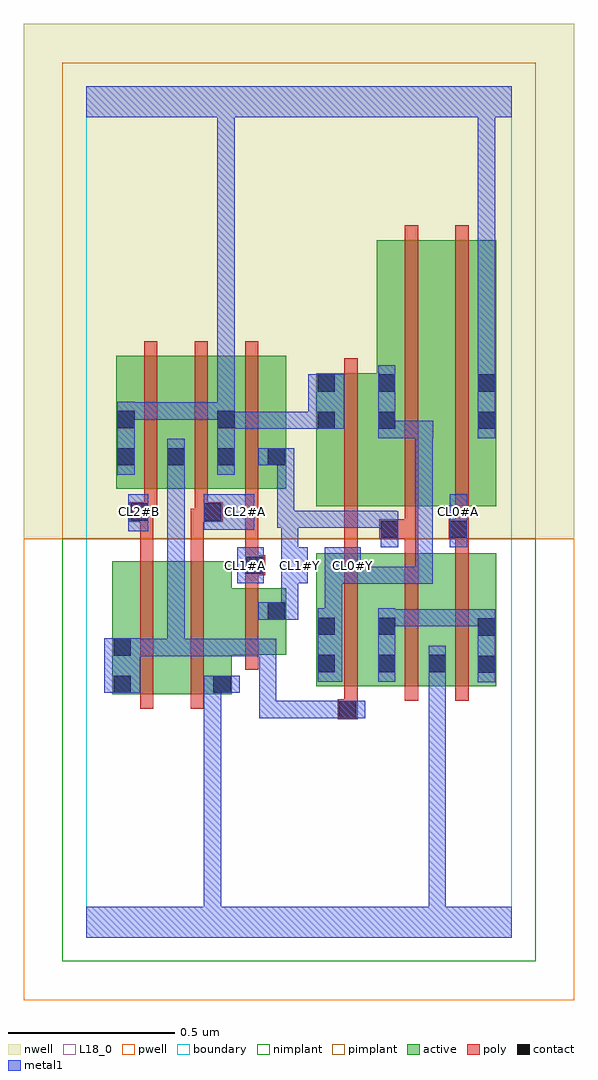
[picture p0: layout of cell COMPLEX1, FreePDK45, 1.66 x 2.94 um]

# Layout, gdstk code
import gdstk
lib = gdstk.Library(unit=1e-6, precision=1e-09)
def R(c, l, rs):  # rectangles x0, y0, x1, y1
    for r in rs: c.add(gdstk.rectangle(r[:2], r[2:], *l))
def A(c, l, x, y, w, h, nx, ny, dx, dy):  # array of equal rectangles
    R(c, l, [(x+i*dx, y+j*dy, x+i*dx+w, y+j*dy+h) for i in range(nx) for j in range(ny)])
active = (1, 0)
pwell = (2, 0)
nwell = (3, 0)
nimplant = (4, 0)
pimplant = (5, 0)
poly = (9, 0)
contact = (10, 0)
metal1 = (11, 0)
L18_0 = (18, 0)
boundary = (235, 0)

complex1 = lib.new_cell('COMPLEX1')
R(complex1, active, [(0.078,0.732,0.138,1.132), (0.078,0.732,0.258,1.132), (0.258,0.732,0.438,1.132), (0.378,0.732,0.438,0.85), (0.692,0.756,0.752,1.156), (0.692,0.756,0.934,1.156), (0.874,0.756,0.934,1.156), (0.874,0.756,1.086,1.156), (1.026,0.756,1.086,1.156), (1.026,0.756,1.234,1.156), (1.174,0.756,1.234,1.156), (0.378,0.85,0.602,1.05), (0.542,0.952,0.602,1.05), (0.692,1.298,0.752,1.698), (0.692,1.298,0.934,1.698), (0.874,1.298,0.934,1.698), (0.874,1.298,1.054,2.098), (1.054,1.298,1.234,2.098), (1.174,1.298,1.234,2.098), (0.09,1.35,0.15,1.644), (0.09,1.35,0.3,1.75), (0.24,1.35,0.3,1.644), (0.24,1.35,0.45,1.75), (0.39,1.35,0.45,1.75), (0.39,1.35,0.602,1.75), (0.542,1.35,0.602,1.644)])
R(complex1, pwell, [(-0.188,-0.188,1.468,1.2)])
R(complex1, nwell, [(-0.188,1.2,1.468,2.748)])
R(complex1, nimplant, [(-0.072,-0.072,1.352,1.2)])
R(complex1, pimplant, [(-0.072,1.2,1.352,2.632)])
A(complex1, poly, 0.174, 1.306, 0.04, 0.488, 3, 1, 0.152, 0)
R(complex1, poly, [(0.756,0.656,0.816,0.716), (0.776,0.676,0.816,0.752), (0.162,0.688,0.202,1.176), (0.314,0.688,0.354,1.176), (0.776,0.712,0.816,1.2), (0.958,0.712,0.998,1.2), (1.11,0.712,1.15,1.2), (0.478,0.806,0.518,1.094), (0.478,1.054,0.518,1.13), (0.478,1.09,0.538,1.15), (0.478,1.11,0.518,1.15), (0.478,1.11,0.518,1.15), (0.478,1.11,0.518,1.346), (0.162,1.136,0.202,1.29), (0.314,1.136,0.354,1.29), (0.776,1.16,0.816,1.236), (0.958,1.16,0.998,1.238), (1.11,1.16,1.15,1.238), (0.776,1.196,0.816,1.236), (0.776,1.196,0.816,1.236), (0.776,1.196,0.816,1.236), (0.776,1.196,0.816,1.294), (0.882,1.198,0.998,1.258), (0.958,1.198,0.998,1.238), (0.958,1.198,0.998,1.238), (1.09,1.198,1.15,1.258), (0.958,1.218,0.998,1.294), (1.11,1.218,1.15,1.294), (1.11,1.218,1.15,1.258), (1.11,1.218,1.15,1.258), (0.13,1.25,0.202,1.31), (0.314,1.25,0.366,1.29), (0.326,1.25,0.366,1.29), (0.326,1.25,0.41,1.31), (0.776,1.254,0.816,1.742), (0.958,1.254,0.998,2.142), (1.11,1.254,1.15,2.142), (0.162,1.27,0.202,1.31), (0.162,1.27,0.214,1.31), (0.174,1.27,0.214,1.346), (0.326,1.27,0.366,1.346)])
A(complex1, contact, 0.094, 1.42, 0.052, 0.052, 3, 1, 0.15, 0)
R(complex1, contact, [(0.76,0.66,0.812,0.712), (0.082,0.736,0.134,0.788), (0.382,0.736,0.434,0.788), (1.178,0.796,1.23,0.848), (0.696,0.798,0.748,0.85), (0.878,0.798,0.93,0.85), (1.03,0.798,1.082,0.85), (0.082,0.848,0.134,0.9), (1.178,0.908,1.23,0.96), (0.696,0.91,0.748,0.962), (0.878,0.91,0.93,0.962), (0.546,0.956,0.598,1.008), (0.482,1.094,0.534,1.146), (0.886,1.202,0.938,1.254), (1.094,1.202,1.146,1.254), (0.134,1.254,0.186,1.306), (0.354,1.254,0.406,1.306), (0.546,1.42,0.598,1.472), (0.696,1.53,0.748,1.582), (0.878,1.53,0.93,1.582), (1.178,1.53,1.23,1.582), (0.094,1.532,0.146,1.584), (0.394,1.532,0.446,1.584), (0.696,1.642,0.748,1.694), (0.878,1.642,0.93,1.694), (1.178,1.642,1.23,1.694)])
R(complex1, metal1, [(0,0,1.28,0.092), (0.354,0.04,0.406,0.092), (0.354,0.04,0.406,0.092), (0.354,0.04,0.406,0.092), (0.354,0.04,0.406,0.092), (0.354,0.04,0.406,0.092), (0.354,0.04,0.406,0.092), (0.354,0.04,0.406,0.092), (0.354,0.04,0.406,0.092), (0.354,0.04,0.406,0.092), (0.354,0.04,0.406,0.092), (0.354,0.04,0.406,0.092), (0.354,0.04,0.406,0.092), (0.354,0.04,0.406,0.788), (1.03,0.04,1.082,0.092), (1.03,0.04,1.082,0.092), (1.03,0.04,1.082,0.092), (1.03,0.04,1.082,0.092), (1.03,0.04,1.082,0.822), (0.52,0.66,0.572,0.712), (0.52,0.66,0.784,0.712), (0.52,0.66,0.572,0.898), (0.732,0.66,0.784,0.712), (0.732,0.66,0.784,0.712), (0.732,0.66,0.84,0.712), (0.054,0.736,0.162,0.9), (0.354,0.736,0.462,0.788), (1.178,0.768,1.23,0.988), (0.696,0.77,0.77,0.99), (0.878,0.77,0.93,0.99), (1.03,0.77,1.082,0.822), (1.03,0.77,1.082,0.822), (1.03,0.77,1.082,0.822), (1.03,0.77,1.082,0.822), (1.03,0.77,1.082,0.822), (1.03,0.77,1.082,0.822), (1.03,0.77,1.082,0.822), (1.03,0.77,1.082,0.822), (1.03,0.77,1.082,0.878), (0.11,0.846,0.162,0.898), (0.11,0.846,0.162,0.898), (0.11,0.846,0.296,0.898), (0.244,0.846,0.296,0.898), (0.244,0.846,0.296,0.898), (0.244,0.846,0.296,0.898), (0.244,0.846,0.296,0.898), (0.244,0.846,0.296,0.898), (0.244,0.846,0.406,0.898), (0.244,0.846,0.296,1.444), (0.354,0.846,0.406,0.898), (0.354,0.846,0.406,0.898), (0.354,0.846,0.406,0.898), (0.354,0.846,0.572,0.898), (0.52,0.846,0.572,0.898), (0.52,0.846,0.572,0.898), (0.52,0.846,0.572,0.898), (0.52,0.846,0.572,0.898), (0.52,0.846,0.572,0.898), (0.52,0.846,0.572,0.898), (0.52,0.846,0.572,0.898), (0.878,0.936,1.036,0.988), (0.984,0.936,1.036,0.988), (0.984,0.936,1.044,0.988), (0.992,0.936,1.044,0.988), (0.992,0.936,1.23,0.988), (1.178,0.936,1.23,0.988), (1.178,0.936,1.23,0.988), (0.718,0.938,0.77,1.116), (0.518,0.956,0.638,1.008), (0.586,0.956,0.638,1.118), (0.718,1.064,0.826,1.174), (0.774,1.064,0.826,1.116), (0.774,1.064,0.826,1.116), (0.774,1.064,0.934,1.116), (0.882,1.064,0.934,1.116), (0.882,1.064,1.036,1.116), (0.984,1.064,1.036,1.116), (0.984,1.064,1.042,1.116), (0.99,1.064,1.042,1.116), (0.99,1.064,1.042,1.554), (0.454,1.066,0.534,1.174), (0.586,1.066,0.666,1.174), (0.586,1.122,0.638,1.284), (0.886,1.174,0.938,1.282), (1.094,1.174,1.146,1.334), (0.126,1.222,0.186,1.334), (0.354,1.226,0.506,1.334), (0.882,1.23,0.938,1.282), (0.882,1.23,0.934,1.284), (0.574,1.232,0.626,1.472), (0.574,1.232,0.638,1.284), (0.586,1.232,0.82,1.284), (0.768,1.232,0.82,1.284), (0.768,1.232,0.82,1.284), (0.768,1.232,0.82,1.284), (0.768,1.232,0.934,1.284), (0.094,1.392,0.146,1.612), (0.244,1.392,0.296,1.444), (0.244,1.392,0.296,1.444), (0.244,1.392,0.296,1.5), (0.394,1.392,0.446,1.612), (0.518,1.42,0.626,1.472), (0.878,1.502,0.93,1.722), (0.878,1.502,0.936,1.554), (0.884,1.502,0.936,1.554), (0.884,1.502,1.044,1.554), (0.99,1.502,1.044,1.554), (0.992,1.502,1.044,1.554), (0.992,1.502,1.044,1.554), (1.178,1.502,1.23,1.722), (0.394,1.53,0.606,1.582), (0.554,1.53,0.606,1.582), (0.554,1.53,0.606,1.582), (0.554,1.53,0.606,1.582), (0.554,1.53,0.72,1.582), (0.668,1.53,0.776,1.694), (0.094,1.558,0.146,1.61), (0.094,1.558,0.146,1.61), (0.094,1.558,0.296,1.61), (0.244,1.558,0.296,1.61), (0.244,1.558,0.296,1.61), (0.244,1.558,0.296,1.61), (0.244,1.558,0.446,1.61), (0.394,1.56,0.446,1.612), (0.394,1.56,0.446,1.612), (0.394,1.56,0.446,1.612), (0.394,1.56,0.446,1.612), (0.394,1.56,0.446,1.612), (0.394,1.56,0.446,1.612), (0.394,1.56,0.446,1.612), (0.394,1.56,0.446,1.612), (0.394,1.56,0.446,1.612), (0.394,1.56,0.446,1.612), (0.394,1.56,0.446,2.52), (1.178,1.67,1.23,1.722), (1.178,1.67,1.23,1.722), (1.178,1.67,1.23,1.722), (1.178,1.67,1.23,1.722), (1.178,1.67,1.23,2.52), (0,2.468,1.28,2.56), (0.394,2.468,0.446,2.52), (0.394,2.468,0.446,2.52), (0.394,2.468,0.446,2.52), (0.394,2.468,0.446,2.52), (0.394,2.468,0.446,2.52), (0.394,2.468,0.446,2.52), (1.178,2.468,1.23,2.52), (1.178,2.468,1.23,2.52), (1.178,2.468,1.23,2.52), (1.178,2.468,1.23,2.52)])
A(complex1, L18_0, 0.454, 1.094, 0.052, 0.052, 3, 1, 0.16, 0)
R(complex1, L18_0, [(0,0,1.28,0.092), (0.354,0.04,0.406,0.092), (0.354,0.04,0.406,0.092), (0.354,0.04,0.406,0.092), (0.354,0.04,0.406,0.092), (0.354,0.04,0.406,0.092), (0.354,0.04,0.406,0.092), (0.354,0.04,0.406,0.092), (0.354,0.04,0.406,0.092), (0.354,0.04,0.406,0.092), (0.354,0.04,0.406,0.092), (0.354,0.04,0.406,0.092), (0.354,0.04,0.406,0.092), (0.354,0.04,0.406,0.788), (1.03,0.04,1.082,0.092), (1.03,0.04,1.082,0.092), (1.03,0.04,1.082,0.092), (1.03,0.04,1.082,0.092), (1.03,0.04,1.082,0.822), (0.354,0.736,0.462,0.788), (0.696,0.77,0.77,0.99), (1.03,0.77,1.082,0.822), (1.03,0.77,1.082,0.822), (1.03,0.77,1.082,0.822), (1.03,0.77,1.082,0.822), (1.03,0.77,1.082,0.822), (1.03,0.77,1.082,0.822), (1.03,0.77,1.082,0.822), (1.03,0.77,1.082,0.822), (1.03,0.77,1.082,0.878), (0.718,0.938,0.77,1.116), (0.518,0.956,0.638,1.008), (0.586,0.956,0.638,1.118), (0.718,1.064,0.826,1.174), (0.774,1.064,0.826,1.116), (0.774,1.064,0.826,1.116), (0.774,1.064,0.934,1.116), (0.882,1.064,0.934,1.116), (0.882,1.064,1.036,1.116), (0.984,1.064,1.036,1.116), (0.984,1.064,1.042,1.116), (0.99,1.064,1.042,1.116), (0.99,1.064,1.042,1.554), (0.454,1.066,0.534,1.174), (0.586,1.066,0.666,1.174), (0.586,1.122,0.638,1.284), (0.886,1.174,0.938,1.282), (1.094,1.174,1.146,1.334), (0.126,1.222,0.186,1.334), (0.354,1.226,0.506,1.334), (0.882,1.23,0.934,1.284), (0.882,1.23,0.938,1.282), (0.574,1.232,0.638,1.284), (0.574,1.232,0.626,1.472), (0.586,1.232,0.82,1.284), (0.768,1.232,0.82,1.284), (0.768,1.232,0.82,1.284), (0.768,1.232,0.82,1.284), (0.768,1.232,0.934,1.284), (0.134,1.254,0.186,1.306), (0.454,1.254,0.506,1.306), (1.094,1.254,1.146,1.306), (0.094,1.392,0.146,1.612), (0.394,1.392,0.446,1.612), (0.518,1.42,0.626,1.472), (0.878,1.502,0.93,1.722), (0.878,1.502,0.936,1.554), (0.884,1.502,0.936,1.554), (0.884,1.502,1.044,1.554), (0.99,1.502,1.044,1.554), (0.992,1.502,1.044,1.554), (0.992,1.502,1.044,1.554), (1.178,1.502,1.23,1.722), (0.394,1.53,0.606,1.582), (0.554,1.53,0.606,1.582), (0.554,1.53,0.606,1.582), (0.554,1.53,0.606,1.582), (0.554,1.53,0.72,1.582), (0.668,1.53,0.776,1.694), (0.094,1.558,0.146,1.61), (0.094,1.558,0.146,1.61), (0.094,1.558,0.296,1.61), (0.244,1.558,0.296,1.61), (0.244,1.558,0.296,1.61), (0.244,1.558,0.296,1.61), (0.244,1.558,0.446,1.61), (0.394,1.56,0.446,1.612), (0.394,1.56,0.446,1.612), (0.394,1.56,0.446,1.612), (0.394,1.56,0.446,1.612), (0.394,1.56,0.446,1.612), (0.394,1.56,0.446,1.612), (0.394,1.56,0.446,1.612), (0.394,1.56,0.446,1.612), (0.394,1.56,0.446,1.612), (0.394,1.56,0.446,1.612), (0.394,1.56,0.446,2.52), (1.178,1.67,1.23,1.722), (1.178,1.67,1.23,1.722), (1.178,1.67,1.23,1.722), (1.178,1.67,1.23,1.722), (1.178,1.67,1.23,2.52), (0,2.468,1.28,2.56), (0.394,2.468,0.446,2.52), (0.394,2.468,0.446,2.52), (0.394,2.468,0.446,2.52), (0.394,2.468,0.446,2.52), (0.394,2.468,0.446,2.52), (0.394,2.468,0.446,2.52), (1.178,2.468,1.23,2.52), (1.178,2.468,1.23,2.52), (1.178,2.468,1.23,2.52), (1.178,2.468,1.23,2.52)])
R(complex1, boundary, [(0,0,1.28,2.56)])
complex1.add(gdstk.Label('CL0#A', (1.12,1.28), layer=11, texttype=0))
complex1.add(gdstk.Label('CL0#Y', (0.8,1.12), layer=11, texttype=0))
complex1.add(gdstk.Label('CL1#A', (0.48,1.12), layer=11, texttype=0))
complex1.add(gdstk.Label('CL1#Y', (0.64,1.12), layer=11, texttype=0))
complex1.add(gdstk.Label('CL2#A', (0.48,1.28), layer=11, texttype=0))
complex1.add(gdstk.Label('CL2#B', (0.16,1.28), layer=11, texttype=0))

lib.write_gds('COMPLEX1.gds')
